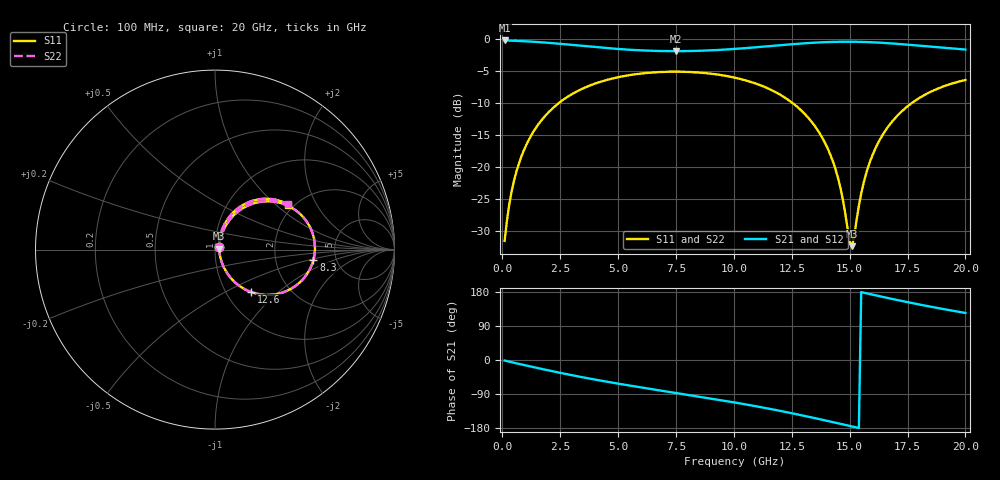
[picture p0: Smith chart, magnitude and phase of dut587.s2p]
! Touchstone file exported from HFSS 2026.1.0
!  File:  C:/ffzhzh/LocalFiles/Ansys_Project_Files/temp_train_TSV_RDL_587_1783119809_46604.aedt
!  Generated:  07:15:18 AM Jul  4, 2026
!  Design:  TSV_RDL
!  Project:  temp_train_TSV_RDL_587_1783119809_46604
! Variables:
!  h_bsmrdl = 3.16um
!  h_ox = 20um
!  h_rdl = 5um
!  h_sub = 54.12um
!  h_tmrdl = 2.76um
!  h_tsv = 54.12um
!  h_via = 3um
!  l_bsmrdl = 858.77um
!  l_sub = 4104.42um
!  l_tmrdl = 248.57um
!  m_sub = 200um
!  pitch = 52.98um
!  r_tsv = 4.33um
!  s_tmrdl = 10um
!  w_bsmrdl = 28.3um
!  w_sub = 500um
!  w_tmrdl = 16.31um
!  x_tsv_center1 = 256.725um
!  x_tsv_center2 = 1143.795um
!  x_tsv_center3 = 1408.675um
!  x_tsv_center4 = 2295.745um
!  x_tsv_center5 = 2560.625um
!  x_tsv_center6 = 3447.695um
# GHz S MA R 50.000000
! Terminal data exported
! Port[1] = TM_RDL1_1_T1
! Port[2] = TM_RDL5_1_T1
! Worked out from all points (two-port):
!   200 points, 100 MHz to 20 GHz, reference 50 ohm
!   highest |S21| = -0.19 dB at 100 MHz (marker M1); lowest = -1.9 dB at 7.5 GHz (marker M2)
!   |S21| within 3 dB of the highest: start of sweep to end of sweep
!   lowest |S11| = -32.4 dB at 15.1 GHz (marker M3), VSWR 1.05, Z = 52.4 + j0.451 ohm
!   |S11| at or under -10 dB: start of sweep to 2.442 GHz; 12.54 GHz to 17.69 GHz (5.15 GHz wide, 34.1 % of centre)
!   |S22| runs from -32.6 to -5.1 dB; largest |S21 - S12| = 6.4e-14
!   S11 on the Smith chart (normalised r, x): 100 MHz: 1.04, +0.03; 8.3 GHz: 3.36, -0.55; 12.6 GHz: 1.30, -0.68; 20 GHz: 1.87, +1.22
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0.1  0.02625 34.9  0.9788 -1.5  0.9788 -1.5  0.02625 34.9
! Gamma 0 0 0 0
! Port Impedance 50 0 50 0
0.3  0.05058 58.9  0.9763 -4.4  0.9763 -4.4  0.05058 58.9
0.5  0.07713 64.8  0.9731 -7.2  0.9731 -7.2  0.07713 64.8
1.1  0.1569 65.3  0.9622 -15.5  0.9622 -15.5  0.1569 65.3
2.1  0.2793 56.0  0.9346 -28.8  0.9346 -28.8  0.2793 55.9
3.5  0.4127 40.6  0.8856 -46.0  0.8856 -46.0  0.4127 40.6
6.8  0.5532 8.0  0.8092 -80.2  0.8092 -80.2  0.5532 7.9
7.5  0.557 1.5  0.8067 -86.9  0.8067 -86.9  0.557 1.5
8.3  0.5513 -5.9  0.8102 -94.7  0.8102 -94.7  0.5513 -6.0
10.1  0.4972 -23.2  0.8414 -112.8  0.8414 -112.8  0.4972 -23.2
12.6  0.3098 -49.7  0.9171 -141.7  0.9171 -141.7  0.3097 -49.8
13.4  0.2203 -58.0  0.9386 -152.1  0.9386 -152.1  0.2202 -58.1
14  0.1459 -62.8  0.9501 -160.1  0.9501 -160.1  0.1459 -62.9
14.4  0.09441 -62.9  0.9548 -165.6  0.9548 -165.6  0.0943 -63.2
14.7  0.05634 -56.6  0.9566 -169.8  0.9566 -169.8  0.05614 -57.1
15  0.0259 -19.5  0.9569 -173.9  0.9569 -173.9  0.02544 -20.0
15.1  0.02386 10.4  0.9566 -175.3  0.9566 -175.3  0.02334 10.5
15.7  0.08679 69.2  0.9514 176.4  0.9514 176.4  0.08663 69.6
16.1  0.1375 69.8  0.9448 170.9  0.9448 170.9  0.1374 70.0
16.7  0.2106 65.5  0.9309 162.9  0.9309 162.9  0.2105 65.6
18.1  0.3543 51.0  0.8875 145.3  0.8875 145.3  0.3542 51.1
20  0.4793 31.6  0.8308 124.1  0.8308 124.1  0.4793 31.6
